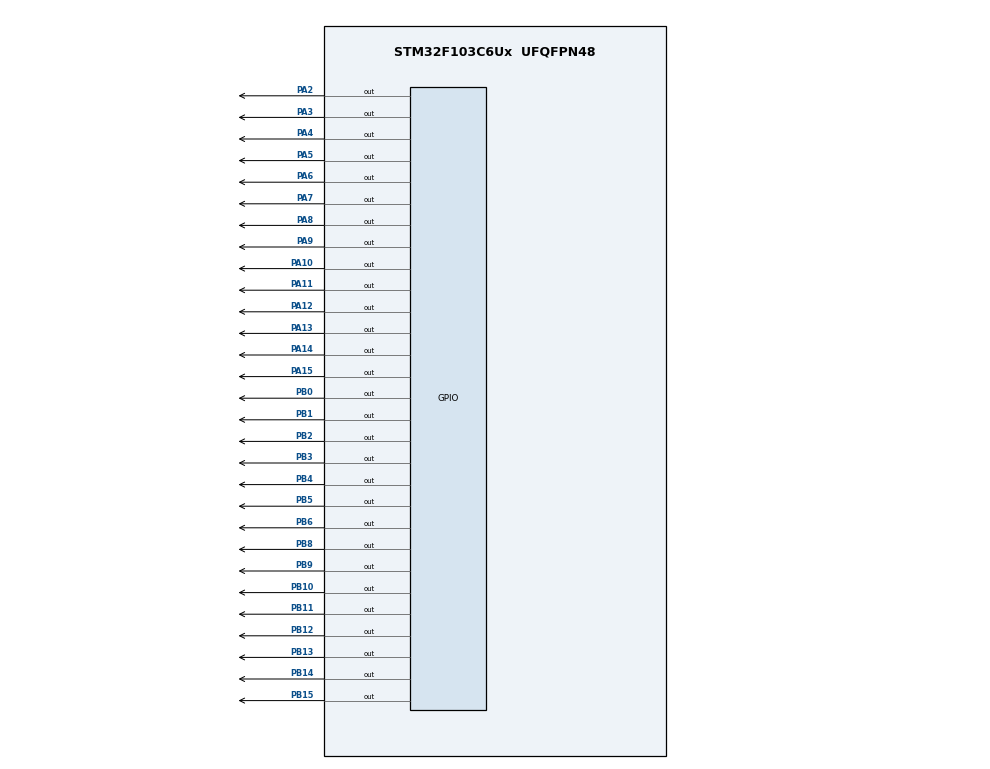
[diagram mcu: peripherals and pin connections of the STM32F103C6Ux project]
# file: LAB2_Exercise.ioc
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Mcu.Family=STM32F1
Mcu.Name=STM32F103C6Ux
Mcu.Package=UFQFPN48
NVIC.PriorityGroup=NVIC_PRIORITYGROUP_4
NVIC.TIM2_IRQn=true\:0\:0\:false\:false\:true\:true\:true
PA10.Signal=GPIO_Output
PA11.Signal=GPIO_Output
PA12.Signal=GPIO_Output
PA13.Signal=GPIO_Output
PA14.Signal=GPIO_Output
PA15.Signal=GPIO_Output
PA2.Signal=GPIO_Output
PA3.Signal=GPIO_Output
PA4.Signal=GPIO_Output
PA5.Signal=GPIO_Output
PA6.Signal=GPIO_Output
PA7.Signal=GPIO_Output
PA8.Signal=GPIO_Output
PA9.Signal=GPIO_Output
PB0.Signal=GPIO_Output
PB1.Signal=GPIO_Output
PB10.Signal=GPIO_Output
PB11.Signal=GPIO_Output
PB12.Signal=GPIO_Output
PB13.Signal=GPIO_Output
PB14.Signal=GPIO_Output
PB15.Signal=GPIO_Output
PB2.Signal=GPIO_Output
PB3.Signal=GPIO_Output
PB4.Signal=GPIO_Output
PB5.Signal=GPIO_Output
PB6.Signal=GPIO_Output
PB8.Signal=GPIO_Output
PB9.Signal=GPIO_Output
ProjectManager.HeapSize=0x200
ProjectManager.StackSize=0x400
ProjectManager.TargetToolchain=STM32CubeIDE
RCC.APB1Freq_Value=8000000
RCC.APB2Freq_Value=8000000
TIM2.Period=9
TIM2.Prescaler=7999
VP_SYS_VS_ND.Mode=No_Debug
VP_TIM2_VS_ClockSourceINT.Mode=Internal
board=custom

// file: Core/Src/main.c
/* USER CODE BEGIN Header */
/**
  ******************************************************************************
  * @file           : main.c
  * @brief          : Main program body
  ******************************************************************************
  * @attention
  *
  * <h2><center>&copy; Copyright (c) 2021 STMicroelectronics.
  * All rights reserved.</center></h2>
  *
  * This software component is licensed by ST under BSD 3-Clause license,
  * the "License"; You may not use this file except in compliance with the
  * License. You may obtain a copy of the License at:
  *                        opensource.org/licenses/BSD-3-Clause
  *
  ******************************************************************************
  */
/* USER CODE END Header */
#include "main.h"

/* USER CODE BEGIN Includes */
#include "software_timer.h"
/* USER CODE END Includes */

TIM_HandleTypeDef htim2;

/* USER CODE BEGIN PV */
const int MAX_LED = 4;
int index_led = 0;
int led_buffer[4] = {1,2,3,4};

const int MAX_LED_MATRIX = 8;
int index_led_matrix = 0;
uint8_t matrix_buffer[8] = {0x01, 0x06, 0x38, 0xC8, 0xC8, 0x38, 0x06, 0x01};
uint8_t A[8] = {0x01, 0x06, 0x38, 0xC8, 0xC8, 0x38, 0x06, 0x01};
uint16_t row_pin[8] = {ROW0,ROW1,ROW2,ROW3,ROW4,ROW5,ROW6,ROW7};
uint16_t col_pin[8] = {ENM0,ENM1,ENM2,ENM3,ENM4,ENM5,ENM6,ENM7};

/* USER CODE END PV */

void SystemClock_Config(void);
static void MX_GPIO_Init(void);
static void MX_TIM2_Init(void);
/* USER CODE BEGIN PFP */
void display7SEG(int);
void update7SEG(int);
void updateClockBuffer(int, int);
void updateLEDMatrix(int);
void shiftRightLEDMatrix();
/* USER CODE END PFP */

int main(void)
{

  /* MCU Configuration--------------------------------------------------------*/

  /* Reset of all peripherals, Initializes the Flash interface and the Systick. */
  HAL_Init();

  /* Configure the system clock */
  SystemClock_Config();

  /* Initialize all configured peripherals */
  MX_GPIO_Init();
  MX_TIM2_Init();
  /* USER CODE BEGIN 2 */
  HAL_TIM_Base_Start_IT(&htim2);
  /* USER CODE END 2 */

  /* Infinite loop */
  /* USER CODE BEGIN WHILE */
  setTimer0(10); // Meaning: Callback in 10 ms, to delay 1 sec needs 10 x 100 = 1000ms
  setTimer1(10);
  setTimer2(10);
  setTimer3(10);
  int hour = 15, minute = 8, second = 50;
  while (1)
  {
	  if (timer0_flag == 1) {
		  if (second >= 60) {
			  second = 0;
			  minute++;
		  }
		  if (minute >= 60) {
			  minute = 0;
			  hour++;
		  }
		  if (hour >= 24) {
			  hour = 0;
		  }
		  second++;
		  updateClockBuffer(hour, minute);
		  setTimer0(1000);
	  }
	  if (timer1_flag == 1) {
		  update7SEG(index_led);
		  if (index_led >= 3) {
			  index_led = 0;
		  } else {
			  index_led++;
		  }
		  shiftRightLEDMatrix();
		  setTimer1(100);
	  }
	  if (timer2_flag == 1) {
		  HAL_GPIO_TogglePin(RLED_PORT, RLED1);
		  HAL_GPIO_TogglePin(RLED_PORT, DOT);
		  setTimer2(100);
	  }
	  if (timer3_flag == 1) {
		  updateLEDMatrix(index_led_matrix);
		  if (index_led_matrix >= 7) {
			  index_led_matrix = 0;
		  } else {
			  index_led_matrix++;
		  }
		  setTimer3(3);
	  }
    /* USER CODE END WHILE */

  }
}

void SystemClock_Config(void)
{
  RCC_OscInitTypeDef RCC_OscInitStruct = {0};
  RCC_ClkInitTypeDef RCC_ClkInitStruct = {0};

  /** Initializes the RCC Oscillators according to the specified parameters
  * in the RCC_OscInitTypeDef structure.
  */
  RCC_OscInitStruct.OscillatorType = RCC_OSCILLATORTYPE_HSI;
  RCC_OscInitStruct.HSIState = RCC_HSI_ON;
  RCC_OscInitStruct.HSICalibrationValue = RCC_HSICALIBRATION_DEFAULT;
  RCC_OscInitStruct.PLL.PLLState = RCC_PLL_NONE;
  if (HAL_RCC_OscConfig(&RCC_OscInitStruct) != HAL_OK)
  {
    Error_Handler();
  }
  /** Initializes the CPU, AHB and APB buses clocks
  */
  RCC_ClkInitStruct.ClockType = RCC_CLOCKTYPE_HCLK|RCC_CLOCKTYPE_SYSCLK
                              |RCC_CLOCKTYPE_PCLK1|RCC_CLOCKTYPE_PCLK2;
  RCC_ClkInitStruct.SYSCLKSource = RCC_SYSCLKSOURCE_HSI;
  RCC_ClkInitStruct.AHBCLKDivider = RCC_SYSCLK_DIV1;
  RCC_ClkInitStruct.APB1CLKDivider = RCC_HCLK_DIV1;
  RCC_ClkInitStruct.APB2CLKDivider = RCC_HCLK_DIV1;

  if (HAL_RCC_ClockConfig(&RCC_ClkInitStruct, FLASH_LATENCY_0) != HAL_OK)
  {
    Error_Handler();
  }
}

static void MX_TIM2_Init(void)
{

  TIM_ClockConfigTypeDef sClockSourceConfig = {0};
  TIM_MasterConfigTypeDef sMasterConfig = {0};

  htim2.Instance = TIM2;
  htim2.Init.Prescaler = 7999;
  htim2.Init.CounterMode = TIM_COUNTERMODE_UP;
  htim2.Init.Period = 9;
  htim2.Init.ClockDivision = TIM_CLOCKDIVISION_DIV1;
  htim2.Init.AutoReloadPreload = TIM_AUTORELOAD_PRELOAD_DISABLE;
  if (HAL_TIM_Base_Init(&htim2) != HAL_OK)
  {
    Error_Handler();
  }
  sClockSourceConfig.ClockSource = TIM_CLOCKSOURCE_INTERNAL;
  if (HAL_TIM_ConfigClockSource(&htim2, &sClockSourceConfig) != HAL_OK)
  {
    Error_Handler();
  }
  sMasterConfig.MasterOutputTrigger = TIM_TRGO_RESET;
  sMasterConfig.MasterSlaveMode = TIM_MASTERSLAVEMODE_DISABLE;
  if (HAL_TIMEx_MasterConfigSynchronization(&htim2, &sMasterConfig) != HAL_OK)
  {
    Error_Handler();
  }

}

static void MX_GPIO_Init(void)
{
  GPIO_InitTypeDef GPIO_InitStruct = {0};

  /* GPIO Ports Clock Enable */
  __HAL_RCC_GPIOA_CLK_ENABLE();
  __HAL_RCC_GPIOB_CLK_ENABLE();

  /*Configure GPIO pin Output Level */
  HAL_GPIO_WritePin(GPIOA, GPIO_PIN_2|GPIO_PIN_3|GPIO_PIN_4|GPIO_PIN_5
                          |GPIO_PIN_6|GPIO_PIN_7|GPIO_PIN_8|GPIO_PIN_9
                          |GPIO_PIN_10|GPIO_PIN_11|GPIO_PIN_12|GPIO_PIN_13
                          |GPIO_PIN_14|GPIO_PIN_15, GPIO_PIN_RESET);

  /*Configure GPIO pin Output Level */
  HAL_GPIO_WritePin(GPIOB, GPIO_PIN_0|GPIO_PIN_1|GPIO_PIN_2|GPIO_PIN_10
                          |GPIO_PIN_11|GPIO_PIN_12|GPIO_PIN_13|GPIO_PIN_14
                          |GPIO_PIN_15|GPIO_PIN_3|GPIO_PIN_4|GPIO_PIN_5
                          |GPIO_PIN_6|GPIO_PIN_8|GPIO_PIN_9, GPIO_PIN_RESET);

  /*Configure GPIO pins : PA2 PA3 PA4 PA5
                           PA6 PA7 PA8 PA9
                           PA10 PA11 PA12 PA13
                           PA14 PA15 */
  GPIO_InitStruct.Pin = GPIO_PIN_2|GPIO_PIN_3|GPIO_PIN_4|GPIO_PIN_5
                          |GPIO_PIN_6|GPIO_PIN_7|GPIO_PIN_8|GPIO_PIN_9
                          |GPIO_PIN_10|GPIO_PIN_11|GPIO_PIN_12|GPIO_PIN_13
                          |GPIO_PIN_14|GPIO_PIN_15;
  GPIO_InitStruct.Mode = GPIO_MODE_OUTPUT_PP;
  GPIO_InitStruct.Pull = GPIO_NOPULL;
  GPIO_InitStruct.Speed = GPIO_SPEED_FREQ_LOW;
  HAL_GPIO_Init(GPIOA, &GPIO_InitStruct);

  /*Configure GPIO pins : PB0 PB1 PB2 PB10
                           PB11 PB12 PB13 PB14
                           PB15 PB3 PB4 PB5
                           PB6 PB8 PB9 */
  GPIO_InitStruct.Pin = GPIO_PIN_0|GPIO_PIN_1|GPIO_PIN_2|GPIO_PIN_10
                          |GPIO_PIN_11|GPIO_PIN_12|GPIO_PIN_13|GPIO_PIN_14
                          |GPIO_PIN_15|GPIO_PIN_3|GPIO_PIN_4|GPIO_PIN_5
                          |GPIO_PIN_6|GPIO_PIN_8|GPIO_PIN_9;
  GPIO_InitStruct.Mode = GPIO_MODE_OUTPUT_PP;
  GPIO_InitStruct.Pull = GPIO_NOPULL;
  GPIO_InitStruct.Speed = GPIO_SPEED_FREQ_LOW;
  HAL_GPIO_Init(GPIOB, &GPIO_InitStruct);

}

/* USER CODE BEGIN 4 */

void HAL_TIM_PeriodElapsedCallback(TIM_HandleTypeDef*htim) {
	timerRun();
}

void display7SEG(int num) {
	HAL_GPIO_WritePin(GPIOB, 0xffff, 1);
	const uint8_t led[10] = {0x3f, 0x06,0x5b,0x4f,0x66,0x6d,0x7d,0x07,0x7f,0x6f};
	HAL_GPIO_WritePin(GPIOB,led[num],0);
}

void update7SEG(int index) {
	/**
	 *  Function to update the state of 7SEG LEDs configuration
	 */
	HAL_GPIO_WritePin(EN_PORT, EN0|EN1|EN2|EN3, 1);
	display7SEG(led_buffer[index]);
	switch(index) {
	case 0:
		// Display the 1st 7SEG with led_buffer[0]
		HAL_GPIO_WritePin(EN_PORT, EN0, 0);
		break;
	case 1:
		// Display the 2nd 7SEG with led_buffer[1]
		HAL_GPIO_WritePin(EN_PORT, EN1, 0);
		break;
	case 2:
		// Display the 3rd 7SEG with led_buffer[2]
		HAL_GPIO_WritePin(EN_PORT, EN2, 0);
		break;
	case 3:
		// Display the 4th 7SEG with led_buffer[3]
		HAL_GPIO_WritePin(EN_PORT, EN3, 0);
		break;
	default:
		break;
	}
}

void updateClockBuffer(int hour, int minute) {
	/**
	 * Display the corresponding time based on hour and minute 12:23
	 */
	 led_buffer[0] = hour / 10;
	 led_buffer[1] = hour % 10;
	 led_buffer[2] = minute / 10;
	 led_buffer[3] = minute % 10;
}

void updateLEDMatrix(int index) {
	 // process 1 column, with index
	 HAL_GPIO_WritePin(ROW_PORT, ROW0|ROW1|ROW2|ROW3|ROW4|ROW5|ROW6|ROW7, 1); // Enable signal
	 HAL_GPIO_WritePin(ENM_PORT, ENM0|ENM1|ENM2|ENM3|ENM4|ENM5|ENM6|ENM7, 1);
	 for (int i=0; i<8; i++) {
		 if (matrix_buffer[index] & (0x80 >> i)) {
			 HAL_GPIO_WritePin(ROW_PORT, row_pin[i], 0);
		 }
	}
	HAL_GPIO_WritePin(ENM_PORT, col_pin[index], 0);

}

void shiftRightLEDMatrix() {
	// Animation on LED Matrix
	static int shamt = 0; // store the value of shamt in the MAIN program
	for (int i=0; i < 8; i++) {
		if (0<=i-shamt && i-shamt <= MAX_LED_MATRIX) {
			matrix_buffer[i] = A[i-shamt];
		} else {
			matrix_buffer[i] = 0x00;
		}
	}
	shamt++;
	if (shamt == MAX_LED_MATRIX) {
		shamt -= 8;
	}
}

//void updateLEDMatrix(int index, int j) {
//	 // process 1 column, with index
//     int pos = index % 8;
//	 HAL_GPIO_WritePin(ROW_PORT, ROW0|ROW1|ROW2|ROW3|ROW4|ROW5|ROW6|ROW7, 1); // Enable signal
//	 HAL_GPIO_WritePin(ENM_PORT, ENM0|ENM1|ENM2|ENM3|ENM4|ENM5|ENM6|ENM7, 1);
//	 for (int i=0; i<8; i++) {
//		 if (matrix_buffer[pos] & (0x80 >> i)) {
//			 HAL_GPIO_WritePin(ROW_PORT, row_pin[i], 0);
//		 }
//	}
//	HAL_GPIO_WritePin(ENM_PORT, col_pin[(pos+j)%8], 0);
//}

//void updateLEDMatrix(int index, int j) {
//	 // process 1 column, with index
//	 int pos = index % 8;
//     for (int k=0; k<8;k++) {
//	 HAL_GPIO_WritePin(ENM_PORT, ENM0|ENM1|ENM2|ENM3|ENM4|ENM5|ENM6|ENM7, 1);
//	 HAL_GPIO_WritePin(ROW_PORT, ROW0|ROW1|ROW2|ROW3|ROW4|ROW5|ROW6|ROW7, 1); // Enable signal
//    	 pos = index % 8;
//		 for (int i=0; i<8; i++) {
//			 if (matrix_buffer[pos] & (0x80 >> i)) {
//				 HAL_GPIO_WritePin(ROW_PORT, row_pin[i], 0);
//			 }
//		}
//		HAL_GPIO_WritePin(ENM_PORT, col_pin[(pos+j)%8], 0);
//		pos++;
//     }
//}
// shift right
//void shiftRightLEDMatrix(int index) {
//	for (int j = 0; j < 8 ; j++) { // Loop 8 times
//		updateLEDMatrix(index,j);
//	}
//}
/* USER CODE END 4 */

void Error_Handler(void)
{
  __disable_irq();
  while (1)
  {
  }
}

/************************ (C) COPYRIGHT STMicroelectronics *****END OF FILE****/
